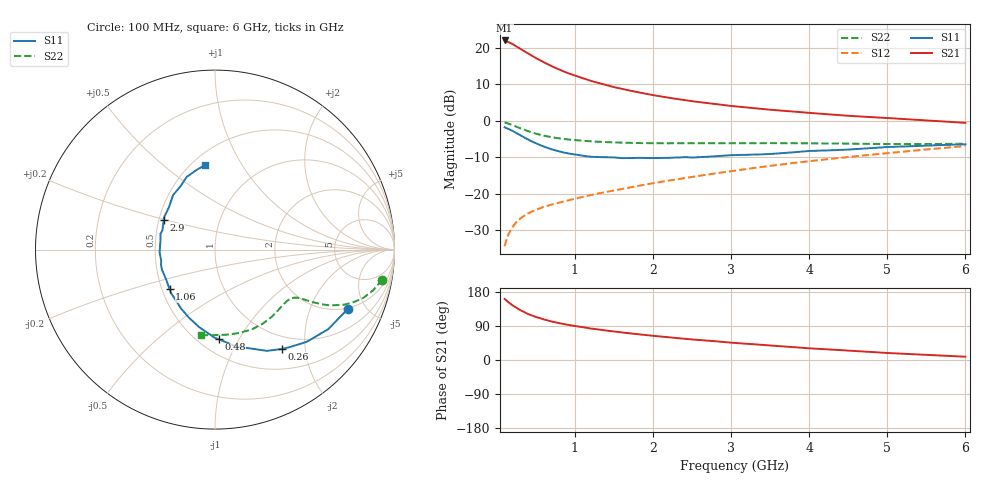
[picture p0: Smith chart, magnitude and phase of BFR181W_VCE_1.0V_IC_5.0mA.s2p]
! Infineon Technologies  Discrete & RF Semiconductors
! BFR181W
! VCE =  1.0 V,  IC =  5.0 mA
! Common Emitter S-Parameters:  Nov 2015
# GHz  S  MA  R  50
!  f  S11  S21  S12  S22
! GHz  MAG  ANG  MAG  ANG  MAG  ANG  MAG  ANG
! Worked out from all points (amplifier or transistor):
!   192 points, 100 MHz to 6 GHz, reference 50 ohm
!   highest |S21| = 22.0 dB at 100 MHz (marker M1)
!   |S21| within 3 dB of that: start of sweep to 356.1 MHz
!   unconditionally stable (mu >= 1): 1.154 GHz to 3.459 GHz
!   at 440 MHz: K = 0.56, MSG = 21.5 dB, |S12| = -25.0 dB
!   at 1.7 GHz: K = 1.10, MAG = 11.3 dB, |S12| = -18.3 dB
!   at 6 GHz: K = 0.81, MSG = 3.2 dB, |S12| = -7.0 dB
!   S11 on the Smith chart (normalised r, x): 100 MHz: 1.95, -3.76; 260 MHz: 0.79, -1.58; 480 MHz: 0.62, -0.83; 1.06 GHz: 0.55, -0.27; 2.9 GHz: 0.53, +0.20; 6 GHz: 0.58, +0.70
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0.1  0.8116 -23.9  12.55 161.0  0.019 77.3  0.946 -10.2
0.15  0.771 -35.1  11.93 152.2  0.0277 72.1  0.9095 -14.5
0.195  0.7285 -44.0  11.27 145.3  0.0337 68.2  0.8721 -17.7
0.24  0.6847 -52.5  10.59 139.1  0.0394 65.0  0.8329 -20.3
0.26  0.6669 -56.1  10.29 136.6  0.0417 63.7  0.8163 -21.3
0.3  0.6338 -62.9  9.678 131.6  0.0455 61.4  0.7847 -23.0
0.4  0.552 -77.7  8.329 121.3  0.0535 57.9  0.7149 -25.8
0.48  0.5002 -87.6  7.421 115.3  0.0585 56.3  0.6721 -27.0
0.5  0.4899 -90.4  7.208 113.6  0.0598 55.9  0.6615 -27.3
0.6  0.4416 -101.4  6.316 107.2  0.0656 55.4  0.6215 -28.2
0.7  0.4054 -111.2  5.581 101.6  0.0705 55.3  0.5925 -28.7
0.88  0.3608 -126.1  4.612 94.0  0.0792 56.4  0.5565 -29.4
1.06  0.3357 -138.7  3.943 87.9  0.0879 57.6  0.5336 -30.2
1.1  0.3302 -141.2  3.817 86.7  0.09 57.8  0.5295 -30.4
1.2  0.3196 -148.0  3.512 83.2  0.0953 58.4  0.5193 -31.0
1.5  0.3131 -163.9  2.879 75.2  0.1104 60.4  0.5019 -33.0
2.08  0.3069 173.3  2.161 62.3  0.1433 63.1  0.489 -38.4
2.9  0.3301 150.1  1.636 47.6  0.1958 64.1  0.4893 -48.3
3.1  0.3376 145.7  1.55 44.3  0.2099 63.9  0.4898 -51.1
4.1  0.3861 125.7  1.253 29.7  0.2856 60.9  0.4875 -66.8
5.1  0.4378 109.7  1.069 17.5  0.3666 55.8  0.4772 -84.0
6  0.474 96.8  0.932 8.7  0.4486 50.0  0.4827 -99.1
